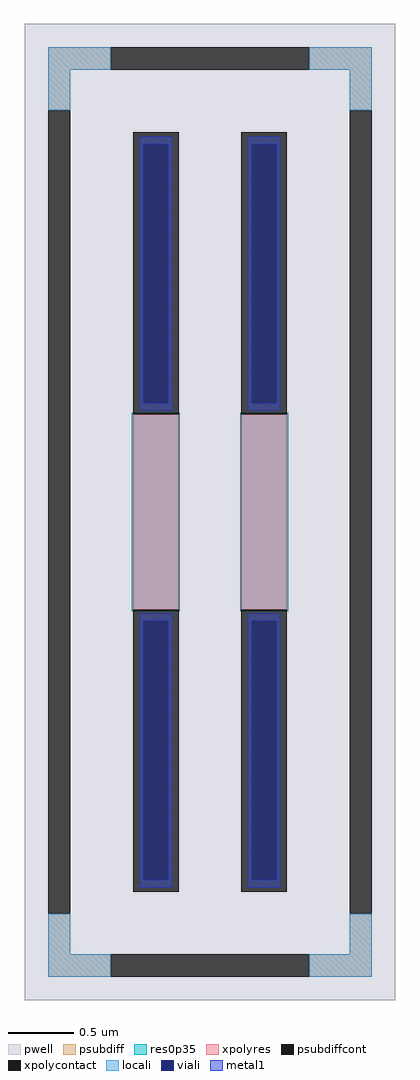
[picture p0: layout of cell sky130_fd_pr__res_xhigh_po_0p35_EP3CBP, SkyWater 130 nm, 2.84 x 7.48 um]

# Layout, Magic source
magic
tech sky130A
magscale 1 2
<< pwell >>
rect -284 -748 284 748
<< psubdiff >>
rect -248 678 -152 712
rect 152 678 248 712
rect -248 616 -214 678
rect 214 616 248 678
rect -248 -678 -214 -616
rect 214 -678 248 -616
rect -248 -712 -152 -678
rect 152 -712 248 -678
<< psubdiffcont >>
rect -152 678 152 712
rect -248 -616 -214 616
rect 214 -616 248 616
rect -152 -712 152 -678
<< xpolycontact >>
rect -118 150 -48 582
rect -118 -582 -48 -150
rect 48 150 118 582
rect 48 -582 118 -150
<< xpolyres >>
rect -118 -150 -48 150
rect 48 -150 118 150
<< locali >>
rect -248 678 -152 712
rect 152 678 248 712
rect -248 616 -214 678
rect 214 616 248 678
rect -248 -678 -214 -616
rect 214 -678 248 -616
rect -248 -712 -152 -678
rect 152 -712 248 -678
<< viali >>
rect -102 167 -64 564
rect 64 167 102 564
rect -102 -564 -64 -167
rect 64 -564 102 -167
<< metal1 >>
rect -108 564 -58 576
rect -108 167 -102 564
rect -64 167 -58 564
rect -108 155 -58 167
rect 58 564 108 576
rect 58 167 64 564
rect 102 167 108 564
rect 58 155 108 167
rect -108 -167 -58 -155
rect -108 -564 -102 -167
rect -64 -564 -58 -167
rect -108 -576 -58 -564
rect 58 -167 108 -155
rect 58 -564 64 -167
rect 102 -564 108 -167
rect 58 -576 108 -564
<< res0p35 >>
rect -120 -152 -46 152
rect 46 -152 120 152
<< properties >>
string FIXED_BBOX -231 -695 231 695
string gencell sky130_fd_pr__res_xhigh_po_0p35
string library sky130
string parameters w 0.350 l 1.5 m 1 nx 2 wmin 0.350 lmin 0.50 rho 2000 val 9.646k dummy 0 dw 0.0 term 188.2 sterm 0.0 caplen 0 wmax 0.350 guard 1 glc 1 grc 1 gtc 1 gbc 1 compatible {sky130_fd_pr__res_xhigh_po_0p35  sky130_fd_pr__res_xhigh_po_0p69 sky130_fd_pr__res_xhigh_po_1p41  sky130_fd_pr__res_xhigh_po_2p85 sky130_fd_pr__res_xhigh_po_5p73} snake 0 full_metal 1 n_guard 0 hv_guard 0 vias 1 viagb 0 viagt 0 viagl 0 viagr 0
<< end >>
